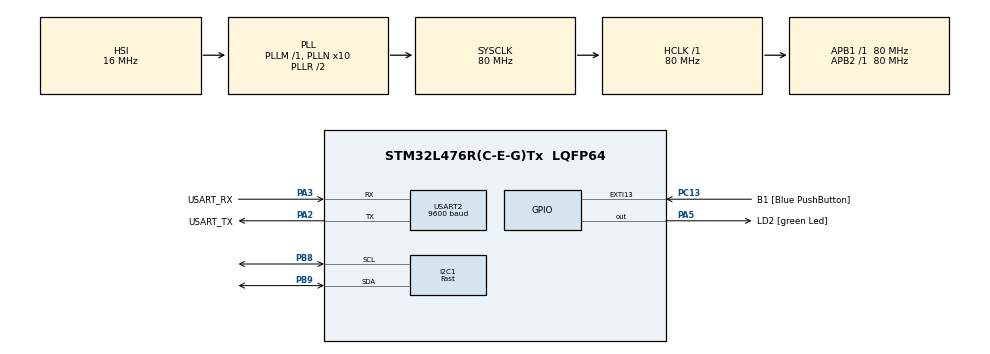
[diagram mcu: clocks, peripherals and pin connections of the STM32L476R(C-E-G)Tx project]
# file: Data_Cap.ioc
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I2C1.I2C_Speed_Mode=I2C_Fast
I2C1.Timing=0x00702991
Mcu.Family=STM32L4
Mcu.Name=STM32L476R(C-E-G)Tx
Mcu.Package=LQFP64
NVIC.PriorityGroup=NVIC_PRIORITYGROUP_4
NVIC.USART2_IRQn=true\:0\:0\:false\:false\:true\:true\:true\:true
PA13\ (JTMS-SWDIO).GPIO_Label=TMS
PA13\ (JTMS-SWDIO).Mode=Serial_Wire
PA13\ (JTMS-SWDIO).Signal=SYS_JTMS-SWDIO
PA14\ (JTCK-SWCLK).GPIO_Label=TCK
PA14\ (JTCK-SWCLK).Mode=Serial_Wire
PA14\ (JTCK-SWCLK).Signal=SYS_JTCK-SWCLK
PA2.GPIO_Label=USART_TX
PA2.GPIO_Mode=GPIO_MODE_AF_PP
PA2.GPIO_PuPd=GPIO_NOPULL
PA2.GPIO_Speed=GPIO_SPEED_FREQ_VERY_HIGH
PA2.Mode=Asynchronous
PA2.Signal=USART2_TX
PA3.GPIO_Label=USART_RX
PA3.GPIO_Mode=GPIO_MODE_AF_PP
PA3.GPIO_PuPd=GPIO_NOPULL
PA3.GPIO_Speed=GPIO_SPEED_FREQ_VERY_HIGH
PA3.Mode=Asynchronous
PA3.Signal=USART2_RX
PA5.GPIO_Label=LD2 [green Led]
PA5.GPIO_ModeDefaultOutputPP=GPIO_MODE_OUTPUT_PP
PA5.GPIO_PuPd=GPIO_NOPULL
PA5.GPIO_Speed=GPIO_SPEED_FREQ_LOW
PA5.Signal=GPIO_Output
PB3\ (JTDO-TRACESWO).GPIO_Label=SWO
PB3\ (JTDO-TRACESWO).Signal=SYS_JTDO-SWO
PB8.Mode=I2C
PB8.Signal=I2C1_SCL
PB9.Mode=I2C
PB9.Signal=I2C1_SDA
PC13.GPIO_Label=B1 [Blue PushButton]
PC13.GPIO_ModeDefaultEXTI=GPIO_MODE_IT_FALLING
PC13.GPIO_PuPd=GPIO_NOPULL
PC13.Signal=GPXTI13
PC14-OSC32_IN\ (PC14).Mode=LSE-External-Oscillator
PC14-OSC32_IN\ (PC14).Signal=RCC_OSC32_IN
PC15-OSC32_OUT\ (PC15).Mode=LSE-External-Oscillator
PC15-OSC32_OUT\ (PC15).Signal=RCC_OSC32_OUT
PH0-OSC_IN\ (PH0).Signal=RCC_OSC_IN
PH1-OSC_OUT\ (PH1).Signal=RCC_OSC_OUT
ProjectManager.HeapSize=0x200
ProjectManager.StackSize=0x400
ProjectManager.TargetToolchain=STM32CubeIDE
RCC.ADCFreq_Value=64000000
RCC.AHBFreq_Value=80000000
RCC.APB1Freq_Value=80000000
RCC.APB1TimFreq_Value=80000000
RCC.APB2Freq_Value=80000000
RCC.APB2TimFreq_Value=80000000
RCC.CortexFreq_Value=80000000
RCC.HCLKFreq_Value=80000000
RCC.HSE_VALUE=8000000
RCC.HSI_VALUE=16000000
RCC.MSI_VALUE=4000000
RCC.PLLN=10
RCC.PLLSourceVirtual=RCC_PLLSOURCE_HSI
RCC.PREFETCH_ENABLE=1
RCC.SYSCLKFreq_VALUE=80000000
RCC.SYSCLKSource=RCC_SYSCLKSOURCE_PLLCLK
RCC.USBFreq_Value=64000000
RCC.VCOOutputFreq_Value=160000000
USART2.BaudRate=9600
USART2.VirtualMode-Asynchronous=VM_ASYNC
board=NUCLEO-L476RG

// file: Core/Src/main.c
/* USER CODE BEGIN Header */
/**
  ******************************************************************************
  * @file           : main.c
  * @brief          : Main program body
  ******************************************************************************
  * @attention
  *
  * Copyright (c) 2022 STMicroelectronics.
  * All rights reserved.
  *
  * This software is licensed under terms that can be found in the LICENSE file
  * in the root directory of this software component.
  * If no LICENSE file comes with this software, it is provided AS-IS.
  *
  ******************************************************************************
  */
/* USER CODE END Header */
#include "main.h"

/* USER CODE BEGIN PD */

/* accelerometer module address*/
#define AccelAddress (0x53<<1)

/* USER CODE END PD */

 I2C_HandleTypeDef hi2c1;

UART_HandleTypeDef huart2;

/* USER CODE BEGIN PV */

uint8_t Rx_buffer[4];
uint8_t TS_buffer[4] = {0 ,0 ,0 ,0};
uint8_t CheckSum = 0;
uint32_t TimeStamp;
uint8_t SendFlag  = 0;
uint8_t AccelData[6];
uint8_t chipid=0;

/* USER CODE END PV */

void SystemClock_Config(void);
static void MX_GPIO_Init(void);
static void MX_I2C1_Init(void);
static void MX_USART2_UART_Init(void);

/* USER CODE BEGIN 0 */
/* Write the Value into corresponding register address */
void AccelWrite (uint8_t reg, uint8_t value)
{
	uint8_t data[2];
	data[0] = reg;
	data[1] = value;
	HAL_I2C_Master_Transmit (&hi2c1, AccelAddress, data, 2, 100);
}

/* Read the values from corresponding register address */
void AccelReadValues (uint8_t reg , uint8_t numberofbytes)
{
	HAL_I2C_Mem_Read (&hi2c1, AccelAddress, reg, 1, (uint8_t *)AccelData, numberofbytes, 100);
}

/* Read the address of chip */
void AccelReadAddress (uint8_t reg)
{
	HAL_I2C_Mem_Read (&hi2c1, AccelAddress, reg, 1, &chipid, 1, 100);

}

/* initialize the accelerometer */
void AccelInit (void)
{
	AccelReadValues(0x00 ,1);
	AccelWrite (0x2d, 0x00);  // reset all bits
	AccelWrite (0x2d, 0x08);  // power_cntl measure and wake up 8hz*/
	AccelWrite (0x31, 0x00);  // data_format range= +- 2g
	//AccelWrite (0x2c, 0x0d);  // 800 hz output data rate

}

/* UART receive interrupt call back */
void HAL_UART_RxCpltCallback(UART_HandleTypeDef *huart)
{

		if (huart->Instance == USART2)             //is current uart?
		{
			/* check for the correct received confirmation code */
			if((Rx_buffer[0] == 0xFF) && (Rx_buffer[1] == 0x00) && (Rx_buffer[2] == 0xFF) && (Rx_buffer[3] == 0x00))
			{
				/*Set send flag to 1*/
				SendFlag = 1;

			}
			else
			{
				/* Transmit the received time stamp */
				HAL_UART_Transmit(&huart2 ,Rx_buffer ,4 ,20);

				/*Convert timestamp from bytes to integer */
				TimeStamp |= (Rx_buffer[0]);
				TimeStamp =  (TimeStamp << 8);
				TimeStamp |= (Rx_buffer[1]);
				TimeStamp =  (TimeStamp << 8);
				TimeStamp |= (Rx_buffer[2]);
				TimeStamp =  (TimeStamp << 8);
				TimeStamp |= (Rx_buffer[3]);

			}

		}
		/*Enable receive interrupt*/
		__HAL_UART_ENABLE_IT(&huart2, UART_IT_RXNE);
		HAL_UART_Receive_IT (&huart2, Rx_buffer, 4);
	}

/*Increment the timer */
/*This function is called in stm32f4xx_hal.c in HAL_IncTick function() */
void IncrementTimer(void)
{
	if(SendFlag == 1)
	{
	TimeStamp = TimeStamp+1;
	}
}
/* USER CODE END 0 */

int main(void)
{

  /* MCU Configuration--------------------------------------------------------*/

  /* Reset of all peripherals, Initializes the Flash interface and the Systick. */
  HAL_Init();

  /* Configure the system clock */
  SystemClock_Config();

  /* Initialize all configured peripherals */
  MX_GPIO_Init();
  MX_I2C1_Init();
  MX_USART2_UART_Init();
  /* USER CODE BEGIN 2 */

  /*Initialize the accelerometer*/
  AccelInit();

  /*Enable the uart receive interrupt */
  __HAL_UART_ENABLE_IT(&huart2, UART_IT_RXNE);
  HAL_UART_Receive_IT (&huart2, Rx_buffer, 4);

  /* USER CODE END 2 */

  /* Infinite loop */
  while (1)
  {

  	  //  Printf("Print: AR=%s\r\n", "testing");
      /*If send flag is 0 collect the received data in Rx_buffer */
      if(SendFlag == 0)
      {
    	  HAL_UART_Receive_IT (&huart2, Rx_buffer, 4);
      }
      else if(SendFlag == 1)
      {
      	  /*Read the accelerometer values  */
      	  /*2 bytes represent the one single value for one axis for example x axis */
      	  /*So we have 6 bytes for x , y and z axis respectively*/
      	  AccelReadValues (0x32 , 6);

          /*Convert the time stamp value again to bytes */
          TS_buffer[3] = (uint8_t) ((TimeStamp >> 0)  & 0x000000FF);
          TS_buffer[2] = (uint8_t) ((TimeStamp >> 8)  & 0x000000FF);
      	  TS_buffer[1] = (uint8_t) ((TimeStamp >> 16) & 0x000000FF);
      	  TS_buffer[0] = (uint8_t) ((TimeStamp >> 24) & 0x000000FF);

          /*Calculate the checksum of 4 bytes of time stamp and 6 bytes of accelerometr*/
          CheckSum = TS_buffer[0] + TS_buffer[1] + TS_buffer[2] + TS_buffer[3] + AccelData[0]
    				   + AccelData[1]+ AccelData[2]+ AccelData[3]+ AccelData[4]+ AccelData[5];

          HAL_Delay(20);

          /*Transmit 4 bytes of TS_buffer*/
          HAL_UART_Transmit(&huart2 ,TS_buffer ,4 ,10);
          /*Transmit 6 bytes of Accelerometr Data*/
          HAL_UART_Transmit(&huart2 ,AccelData ,6 ,10);
          /*Transmit 1 byte of checksum*/
          HAL_UART_Transmit(&huart2 ,&CheckSum ,1 ,10);
       }

    }
}

void SystemClock_Config(void)
{
  RCC_OscInitTypeDef RCC_OscInitStruct = {0};
  RCC_ClkInitTypeDef RCC_ClkInitStruct = {0};

  /** Configure the main internal regulator output voltage
  */
  if (HAL_PWREx_ControlVoltageScaling(PWR_REGULATOR_VOLTAGE_SCALE1) != HAL_OK)
  {
    Error_Handler();
  }

  /** Initializes the RCC Oscillators according to the specified parameters
  * in the RCC_OscInitTypeDef structure.
  */
  RCC_OscInitStruct.OscillatorType = RCC_OSCILLATORTYPE_HSI;
  RCC_OscInitStruct.HSIState = RCC_HSI_ON;
  RCC_OscInitStruct.HSICalibrationValue = RCC_HSICALIBRATION_DEFAULT;
  RCC_OscInitStruct.PLL.PLLState = RCC_PLL_ON;
  RCC_OscInitStruct.PLL.PLLSource = RCC_PLLSOURCE_HSI;
  RCC_OscInitStruct.PLL.PLLM = 1;
  RCC_OscInitStruct.PLL.PLLN = 10;
  RCC_OscInitStruct.PLL.PLLP = RCC_PLLP_DIV7;
  RCC_OscInitStruct.PLL.PLLQ = RCC_PLLQ_DIV2;
  RCC_OscInitStruct.PLL.PLLR = RCC_PLLR_DIV2;
  if (HAL_RCC_OscConfig(&RCC_OscInitStruct) != HAL_OK)
  {
    Error_Handler();
  }

  /** Initializes the CPU, AHB and APB buses clocks
  */
  RCC_ClkInitStruct.ClockType = RCC_CLOCKTYPE_HCLK|RCC_CLOCKTYPE_SYSCLK
                              |RCC_CLOCKTYPE_PCLK1|RCC_CLOCKTYPE_PCLK2;
  RCC_ClkInitStruct.SYSCLKSource = RCC_SYSCLKSOURCE_PLLCLK;
  RCC_ClkInitStruct.AHBCLKDivider = RCC_SYSCLK_DIV1;
  RCC_ClkInitStruct.APB1CLKDivider = RCC_HCLK_DIV1;
  RCC_ClkInitStruct.APB2CLKDivider = RCC_HCLK_DIV1;

  if (HAL_RCC_ClockConfig(&RCC_ClkInitStruct, FLASH_LATENCY_4) != HAL_OK)
  {
    Error_Handler();
  }
}

static void MX_I2C1_Init(void)
{

  hi2c1.Instance = I2C1;
  hi2c1.Init.Timing = 0x00702991;
  hi2c1.Init.OwnAddress1 = 0;
  hi2c1.Init.AddressingMode = I2C_ADDRESSINGMODE_7BIT;
  hi2c1.Init.DualAddressMode = I2C_DUALADDRESS_DISABLE;
  hi2c1.Init.OwnAddress2 = 0;
  hi2c1.Init.OwnAddress2Masks = I2C_OA2_NOMASK;
  hi2c1.Init.GeneralCallMode = I2C_GENERALCALL_DISABLE;
  hi2c1.Init.NoStretchMode = I2C_NOSTRETCH_DISABLE;
  if (HAL_I2C_Init(&hi2c1) != HAL_OK)
  {
    Error_Handler();
  }

  /** Configure Analogue filter
  */
  if (HAL_I2CEx_ConfigAnalogFilter(&hi2c1, I2C_ANALOGFILTER_ENABLE) != HAL_OK)
  {
    Error_Handler();
  }

  /** Configure Digital filter
  */
  if (HAL_I2CEx_ConfigDigitalFilter(&hi2c1, 0) != HAL_OK)
  {
    Error_Handler();
  }

}

static void MX_USART2_UART_Init(void)
{

  huart2.Instance = USART2;
  huart2.Init.BaudRate = 9600;
  huart2.Init.WordLength = UART_WORDLENGTH_8B;
  huart2.Init.StopBits = UART_STOPBITS_1;
  huart2.Init.Parity = UART_PARITY_NONE;
  huart2.Init.Mode = UART_MODE_TX_RX;
  huart2.Init.HwFlowCtl = UART_HWCONTROL_NONE;
  huart2.Init.OverSampling = UART_OVERSAMPLING_16;
  huart2.Init.OneBitSampling = UART_ONE_BIT_SAMPLE_DISABLE;
  huart2.AdvancedInit.AdvFeatureInit = UART_ADVFEATURE_NO_INIT;
  if (HAL_UART_Init(&huart2) != HAL_OK)
  {
    Error_Handler();
  }

}

static void MX_GPIO_Init(void)
{
  GPIO_InitTypeDef GPIO_InitStruct = {0};

  /* GPIO Ports Clock Enable */
  __HAL_RCC_GPIOC_CLK_ENABLE();
  __HAL_RCC_GPIOH_CLK_ENABLE();
  __HAL_RCC_GPIOA_CLK_ENABLE();
  __HAL_RCC_GPIOB_CLK_ENABLE();

  /*Configure GPIO pin Output Level */
  HAL_GPIO_WritePin(LD2_GPIO_Port, LD2_Pin, GPIO_PIN_RESET);

  /*Configure GPIO pin : B1_Pin */
  GPIO_InitStruct.Pin = B1_Pin;
  GPIO_InitStruct.Mode = GPIO_MODE_IT_FALLING;
  GPIO_InitStruct.Pull = GPIO_NOPULL;
  HAL_GPIO_Init(B1_GPIO_Port, &GPIO_InitStruct);

  /*Configure GPIO pin : LD2_Pin */
  GPIO_InitStruct.Pin = LD2_Pin;
  GPIO_InitStruct.Mode = GPIO_MODE_OUTPUT_PP;
  GPIO_InitStruct.Pull = GPIO_NOPULL;
  GPIO_InitStruct.Speed = GPIO_SPEED_FREQ_LOW;
  HAL_GPIO_Init(LD2_GPIO_Port, &GPIO_InitStruct);

}

void Error_Handler(void)
{
  __disable_irq();
  while (1)
  {
  }
}
